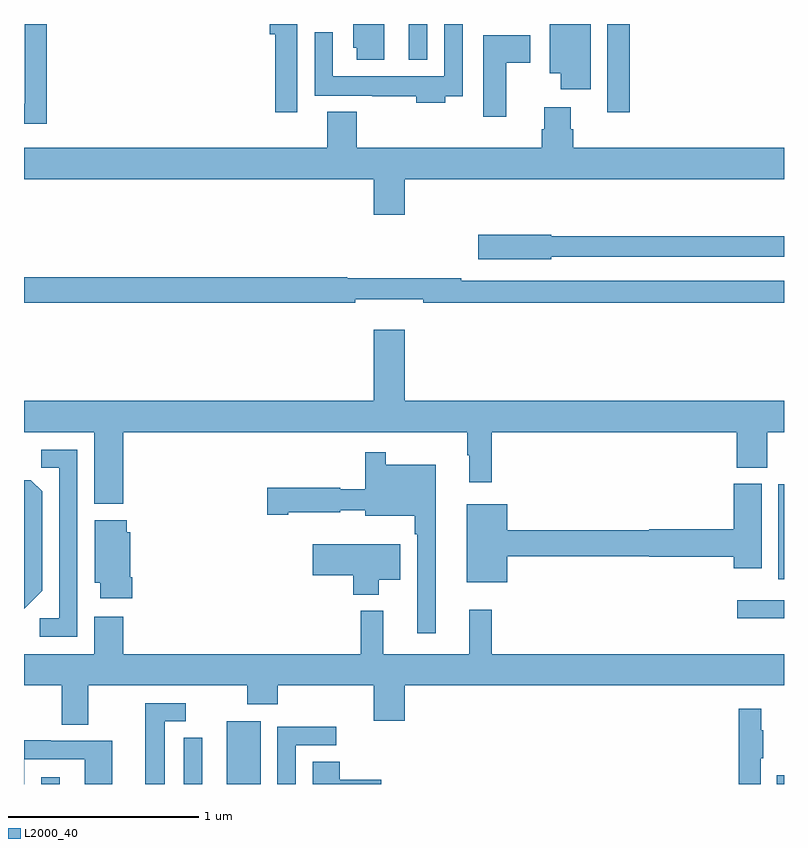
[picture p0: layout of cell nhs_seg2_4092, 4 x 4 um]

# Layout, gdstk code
import gdstk
lib = gdstk.Library(unit=1e-6, precision=1e-09)
def R(c, l, rs):  # rectangles x0, y0, x1, y1
    for r in rs: c.add(gdstk.rectangle(r[:2], r[2:], *l))
def P(c, l, *ps):  # polygons
    for p in ps: c.add(gdstk.Polygon(p, *l))
L2000_40 = (2000, 40)

nhs_seg2_4092 = lib.new_cell('nhs_seg2_4092')
R(nhs_seg2_4092, L2000_40, [(331.092,629.8,331.189,629.836), (332.066,629.8,332.245,630.13), (334.963,629.8,335,629.847), (334.755,630.672,335,630.768), (334.97,630.878,335,631.378), (334.071,633.336,334.187,633.8), (333.026,633.611,333.123,633.8)])
P(nhs_seg2_4092, L2000_40, [(333.982,633.8),(333.767,633.8),(333.767,633.542),(333.824,633.542),(333.824,633.456),(333.982,633.456)],
  [(333.217,633.42),(333.309,633.42),(333.309,633.8),(333.213,633.8),(333.213,633.526),(332.625,633.526),(332.625,633.757),(332.529,633.757),(332.529,633.422),(332.833,633.422),(332.833,633.42),(333.065,633.42),(333.065,633.386),(333.217,633.386)],
  [(332.896,633.8),(332.732,633.8),(332.732,633.675),(332.75,633.675),(332.75,633.612),(332.896,633.612)],
  [(331.121,633.8),(331.005,633.8),(331.005,633.381),(331,633.381),(331,633.276),(331.121,633.276)],
  [(332.439,633.8),(332.294,633.8),(332.294,633.746),(332.323,633.746),(332.323,633.336),(332.439,633.336)],
  [(333.538,633.595),(333.664,633.595),(333.664,633.742),(333.416,633.742),(333.416,633.312),(333.538,633.312)],
  [(333.004,632.984),(335,632.984),(335,633.148),(333.89,633.148),(333.89,633.246),(333.877,633.246),(333.877,633.361),(333.737,633.361),(333.737,633.246),(333.725,633.246),(333.725,633.148),(332.75,633.148),(332.75,633.337),(332.597,633.337),(332.597,633.148),(331,633.148),(331,632.984),(332.84,632.984),(332.84,632.796),(333.004,632.796)],
  [(333.774,632.574),(335,632.574),(335,632.683),(333.774,632.683),(333.774,632.691),(333.39,632.691),(333.39,632.561),(333.774,632.561)],
  [(332.744,632.351),(333.1,632.351),(333.1,632.332),(335,632.332),(335,632.448),(333.302,632.448),(333.302,632.461),(332.702,632.461),(332.702,632.468),(331,632.468),(331,632.332),(332.744,632.332)],
  [(331.523,631.652),(333.333,631.652),(333.333,631.529),(333.344,631.529),(333.344,631.389),(333.461,631.389),(333.461,631.652),(334.751,631.652),(334.751,631.465),(334.911,631.465),(334.911,631.652),(335,631.652),(335,631.816),(333.004,631.816),(333.004,632.191),(332.84,632.191),(332.84,631.816),(331,631.816),(331,631.652),(331.37,631.652),(331.37,631.274),(331.523,631.274)],
  [(331.281,631.56),(331.09,631.56),(331.09,631.465),(331.185,631.465),(331.185,630.672),(331.083,630.672),(331.083,630.576),(331.281,630.576)],
  [(333.166,631.48),(332.905,631.48),(332.905,631.546),(332.795,631.546),(332.795,631.351),(332.664,631.351),(332.664,631.359),(332.28,631.359),(332.28,631.217),(332.392,631.217),(332.392,631.229),(332.664,631.229),(332.664,631.241),(332.795,631.241),(332.795,631.211),(333.057,631.211),(333.057,631.115),(333.069,631.115),(333.069,630.594),(333.166,630.594)],
  [(331.003,630.725),(331.095,630.818),(331.095,631.34),(331.036,631.399),(331,631.399),(331,631.286),(331.002,631.284),(331.002,631.184),(331,631.184),(331,630.722)],
  [(333.544,631),(334.29,631),(334.29,630.995),(334.736,630.995),(334.736,630.936),(334.882,630.936),(334.882,631.38),(334.736,631.38),(334.736,631.142),(334.29,631.142),(334.29,631.136),(333.544,631.136),(333.544,631.273),(333.329,631.273),(333.329,630.863),(333.544,630.863)],
  [(331.571,630.889),(331.558,630.889),(331.558,631.125),(331.54,631.125),(331.54,631.189),(331.373,631.189),(331.373,630.858),(331.4,630.858),(331.4,630.777),(331.571,630.777)],
  [(332.866,630.875),(332.98,630.875),(332.98,631.063),(332.52,631.063),(332.52,630.898),(332.732,630.898),(332.732,630.797),(332.866,630.797)],
  [(331.339,630.32),(332.176,630.32),(332.176,630.221),(332.336,630.221),(332.336,630.32),(332.84,630.32),(332.84,630.132),(333.004,630.132),(333.004,630.32),(335,630.32),(335,630.484),(333.461,630.484),(333.461,630.718),(333.344,630.718),(333.344,630.484),(332.891,630.484),(332.891,630.712),(332.773,630.712),(332.773,630.484),(331.523,630.484),(331.523,630.679),(331.37,630.679),(331.37,630.484),(331,630.484),(331,630.32),(331.199,630.32),(331.199,630.112),(331.339,630.112)],
  [(331.741,630.129),(331.852,630.129),(331.852,630.225),(331.637,630.225),(331.637,629.8),(331.741,629.8)],
  [(334.878,629.935),(334.891,629.935),(334.891,630.083),(334.88,630.083),(334.88,630.196),(334.762,630.196),(334.762,629.8),(334.878,629.8)],
  [(332.43,630.003),(332.644,630.003),(332.644,630.102),(332.334,630.102),(332.334,629.8),(332.43,629.8)],
  [(331.937,629.89),(331.938,629.89),(331.938,630.044),(331.842,630.044),(331.842,629.8),(331.937,629.8)],
  [(331.002,629.931),(331.32,629.931),(331.32,629.8),(331.465,629.8),(331.465,630.027),(331.141,630.027),(331.141,630.031),(331,630.031),(331,629.8),(331.002,629.8)],
  [(332.881,629.823),(332.663,629.823),(332.663,629.918),(332.519,629.918),(332.519,629.8),(332.881,629.8)])

lib.write_gds('nhs_seg2_4092.gds')
